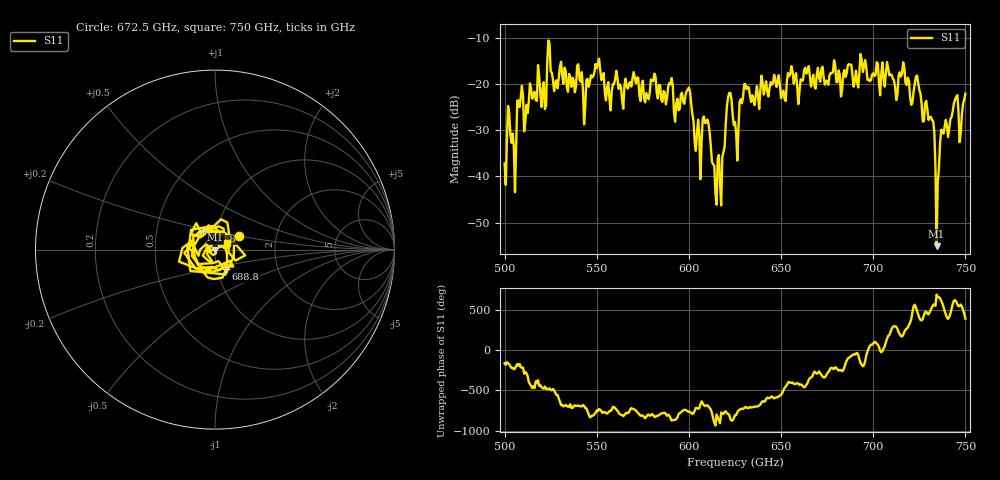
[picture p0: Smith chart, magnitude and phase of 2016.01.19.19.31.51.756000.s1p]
!Created with skrf (http://scikit-rf.org).
# GHz S RI R 50.0
!freq ReS11 ImS11
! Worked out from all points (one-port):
!   401 points, 500 GHz to 750 GHz, reference 50 ohm
!   lowest |S11| = -55.1 dB at 734.4 GHz (marker M1), VSWR 1.00, Z = 50.1 - j0.0973 ohm
!   |S11| at or under -10 dB: start of sweep to end of sweep
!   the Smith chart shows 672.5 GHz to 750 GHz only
!   S11 on the Smith chart (normalised r, x): 672.5 GHz: 1.29, +0.20; 688.8 GHz: 1.10, -0.24; 723.8 GHz: 0.85, +0.18; 750 GHz: 1.14, +0.09
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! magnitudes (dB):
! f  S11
! 500 GHz  -37.2
! 502.5 GHz  -26.2
! 505 GHz  -33.6
! 508.1 GHz  -25.0
! 521.2 GHz  -19.6
! 524.4 GHz  -11.2
! 527.5 GHz  -19.7
! 531.2 GHz  -18.2
! 562.5 GHz  -20.1
! 590 GHz  -20.1
! 593.8 GHz  -23.2
! 600 GHz  -20.8
! 605 GHz  -27.7
! 609.4 GHz  -28.4
! 616.2 GHz  -35.4
! 621.9 GHz  -22.0
! 625 GHz  -28.2
! 631.2 GHz  -21.1
! 656.2 GHz  -17.3
! 672.5 GHz  -16.3
! 687.5 GHz  -15.8
! 688.8 GHz  -18.1
! 718.8 GHz  -18.6
! 723.8 GHz  -18.2
! 731.9 GHz  -27.8
! 734.4 GHz  -55.1
! 738.1 GHz  -30.7
! 750 GHz  -22.1
